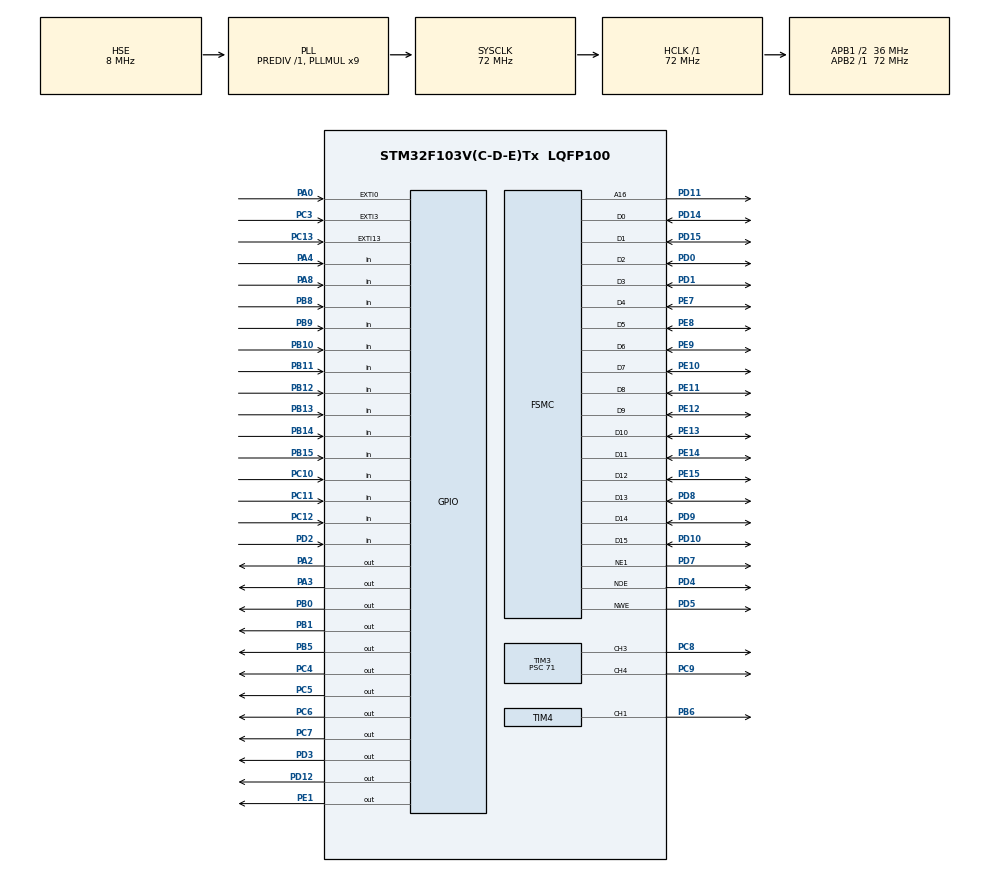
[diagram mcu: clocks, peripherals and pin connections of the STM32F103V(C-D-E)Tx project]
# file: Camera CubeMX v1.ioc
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Mcu.Family=STM32F1
Mcu.Name=STM32F103V(C-D-E)Tx
Mcu.Package=LQFP100
NVIC.EXTI0_IRQn=true\:0\:0\:false\:false\:true\:true\:true\:true
NVIC.EXTI15_10_IRQn=true\:0\:0\:false\:false\:true\:true\:true\:true
NVIC.EXTI3_IRQn=true\:0\:0\:false\:false\:true\:true\:true\:true
NVIC.PriorityGroup=NVIC_PRIORITYGROUP_4
OSC_IN.Mode=HSE-External-Oscillator
OSC_IN.Signal=RCC_OSC_IN
OSC_OUT.Mode=HSE-External-Oscillator
OSC_OUT.Signal=RCC_OSC_OUT
PA0-WKUP.GPIO_ModeDefaultEXTI=GPIO_MODE_IT_RISING_FALLING
PA0-WKUP.GPIO_PuPd=GPIO_PULLUP
PA0-WKUP.Signal=GPXTI0
PA13.Mode=Serial_Wire
PA13.Signal=SYS_JTMS-SWDIO
PA14.Mode=Serial_Wire
PA14.Signal=SYS_JTCK-SWCLK
PA2.GPIO_Speed=GPIO_SPEED_FREQ_HIGH
PA2.Signal=GPIO_Output
PA3.GPIO_Speed=GPIO_SPEED_FREQ_HIGH
PA3.Signal=GPIO_Output
PA4.GPIO_PuPd=GPIO_PULLUP
PA4.Signal=GPIO_Input
PA8.GPIO_PuPd=GPIO_PULLUP
PA8.Signal=GPIO_Input
PB0.GPIO_Speed=GPIO_SPEED_FREQ_HIGH
PB0.PinState=GPIO_PIN_SET
PB0.Signal=GPIO_Output
PB1.GPIO_Speed=GPIO_SPEED_FREQ_HIGH
PB1.PinState=GPIO_PIN_SET
PB1.Signal=GPIO_Output
PB10.Signal=GPIO_Input
PB11.Signal=GPIO_Input
PB12.Signal=GPIO_Input
PB13.Signal=GPIO_Input
PB14.Signal=GPIO_Input
PB15.Signal=GPIO_Input
PB5.GPIO_Speed=GPIO_SPEED_FREQ_HIGH
PB5.PinState=GPIO_PIN_SET
PB5.Signal=GPIO_Output
PB6.Signal=S_TIM4_CH1
PB8.Signal=GPIO_Input
PB9.Signal=GPIO_Input
PC10.GPIO_PuPd=GPIO_PULLUP
PC10.Signal=GPIO_Input
PC11.GPIO_PuPd=GPIO_PULLUP
PC11.Signal=GPIO_Input
PC12.GPIO_PuPd=GPIO_PULLUP
PC12.Signal=GPIO_Input
PC13-TAMPER-RTC.GPIO_ModeDefaultEXTI=GPIO_MODE_IT_RISING_FALLING
PC13-TAMPER-RTC.Signal=GPXTI13
PC14-OSC32_IN.Mode=LSE-External-Oscillator
PC14-OSC32_IN.Signal=RCC_OSC32_IN
PC15-OSC32_OUT.Mode=LSE-External-Oscillator
PC15-OSC32_OUT.Signal=RCC_OSC32_OUT
PC3.GPIO_ModeDefaultEXTI=GPIO_MODE_IT_FALLING
PC3.Signal=GPXTI3
PC4.GPIO_Speed=GPIO_SPEED_FREQ_HIGH
PC4.Signal=GPIO_Output
PC5.GPIO_Speed=GPIO_SPEED_FREQ_HIGH
PC5.Signal=GPIO_Output
PC6.Signal=GPIO_Output
PC7.GPIO_ModeDefaultOutputPP=GPIO_MODE_OUTPUT_OD
PC7.GPIO_Speed=GPIO_SPEED_FREQ_HIGH
PC7.Signal=GPIO_Output
PC8.Signal=S_TIM3_CH3
PC9.Signal=S_TIM3_CH4
PD0.Mode=16b-d1
PD0.Signal=FSMC_D2
PD1.Mode=16b-d1
PD1.Signal=FSMC_D3
PD10.Mode=16b-d1
PD10.Signal=FSMC_D15
PD11.Mode=A16_1
PD11.Signal=FSMC_A16
PD12.GPIO_Speed=GPIO_SPEED_FREQ_HIGH
PD12.PinState=GPIO_PIN_RESET
PD12.Signal=GPIO_Output
PD14.Mode=16b-d1
PD14.Signal=FSMC_D0
PD15.Mode=16b-d1
PD15.Signal=FSMC_D1
PD2.GPIO_PuPd=GPIO_PULLUP
PD2.Signal=GPIO_Input
PD3.GPIO_Speed=GPIO_SPEED_FREQ_HIGH
PD3.Signal=GPIO_Output
PD4.Mode=Lcd1
PD4.Signal=FSMC_NOE
PD5.Mode=Lcd1
PD5.Signal=FSMC_NWE
PD7.Mode=NorPsramChipSelect1_1
PD7.Signal=FSMC_NE1
PD8.Mode=16b-d1
PD8.Signal=FSMC_D13
PD9.Mode=16b-d1
PD9.Signal=FSMC_D14
PE1.GPIO_Speed=GPIO_SPEED_FREQ_HIGH
PE1.PinState=GPIO_PIN_RESET
PE1.Signal=GPIO_Output
PE10.Mode=16b-d1
PE10.Signal=FSMC_D7
PE11.Mode=16b-d1
PE11.Signal=FSMC_D8
PE12.Mode=16b-d1
PE12.Signal=FSMC_D9
PE13.Mode=16b-d1
PE13.Signal=FSMC_D10
PE14.Mode=16b-d1
PE14.Signal=FSMC_D11
PE15.Mode=16b-d1
PE15.Signal=FSMC_D12
PE7.Mode=16b-d1
PE7.Signal=FSMC_D4
PE8.Mode=16b-d1
PE8.Signal=FSMC_D5
PE9.Mode=16b-d1
PE9.Signal=FSMC_D6
ProjectManager.HeapSize=0x200
ProjectManager.StackSize=0x400
ProjectManager.TargetToolchain=STM32CubeIDE
RCC.AHBFreq_Value=72000000
RCC.APB1CLKDivider=RCC_HCLK_DIV2
RCC.APB1Freq_Value=36000000
RCC.APB1TimFreq_Value=72000000
RCC.APB2Freq_Value=72000000
RCC.APB2TimFreq_Value=72000000
RCC.HCLKFreq_Value=72000000
RCC.PLLMUL=RCC_PLL_MUL9
RCC.PLLSourceVirtual=RCC_PLLSOURCE_HSE
RCC.SYSCLKFreq_VALUE=72000000
RCC.SYSCLKSource=RCC_SYSCLKSOURCE_PLLCLK
RCC.USBFreq_Value=72000000
SH.S_TIM3_CH3.0=TIM3_CH3,PWM Generation3 CH3
SH.S_TIM3_CH4.0=TIM3_CH4,PWM Generation4 CH4
SH.S_TIM4_CH1.0=TIM4_CH1,PWM Generation1 CH1
TIM3.Channel-PWM\ Generation3\ CH3=TIM_CHANNEL_3
TIM3.Channel-PWM\ Generation4\ CH4=TIM_CHANNEL_4
TIM3.Period=19999
TIM3.Prescaler=71
TIM3.Pulse-PWM\ Generation3\ CH3=799
TIM3.Pulse-PWM\ Generation4\ CH4=799
TIM4.Channel-PWM\ Generation1\ CH1=TIM_CHANNEL_1
TIM4.Period=19999
TIM4.Prescaler=71
TIM4.Pulse-PWM\ Generation1\ CH1=799
TIM4.TIM_MasterOutputTrigger=TIM_TRGO_RESET
TIM4.TIM_MasterSlaveMode=TIM_MASTERSLAVEMODE_DISABLE
board=custom

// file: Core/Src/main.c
	/* USER CODE BEGIN Header */
/**
  ******************************************************************************
  * @file           : main.c
  * @brief          : Main program body
  ******************************************************************************
  * @attention
  *
  * <h2><center>&copy; Copyright (c) 2019 STMicroelectronics.
  * All rights reserved.</center></h2>
  *
  * This software component is licensed by ST under BSD 3-Clause license,
  * the "License"; You may not use this file except in compliance with the
  * License. You may obtain a copy of the License at:
  *                        opensource.org/licenses/BSD-3-Clause
  *
  ******************************************************************************
  */
/* USER CODE END Header */
#include "main.h"

/* USER CODE BEGIN Includes */
#include "lcd.h"
#include "bsp_ov7725.h"
#include "bsp_sccb.h"
#include "pid.h"
#include "robot_controller.h"
#include <stdio.h>

/* USER CODE END Includes */

 TIM_HandleTypeDef htim3;
TIM_HandleTypeDef htim4;
SRAM_HandleTypeDef hsram1;

void SystemClock_Config(void);
static void MX_GPIO_Init(void);
static void MX_FSMC_Init(void);
static void MX_TIM4_Init(void);
static void MX_TIM3_Init(void);
/* USER CODE BEGIN PFP */
volatile uint8_t Ov7725_vsync ;
PIDController ball_pid;

/* === Modes === */
volatile uint8_t shape_state = 0;
volatile uint8_t square_mode = 0;
volatile uint8_t circle_mode = 0;
volatile uint8_t joystick_mode = 0;

/* === Square Mode Variables === */
uint8_t current_side = 0;                   // 0: Top, 1: Right, 2: Bottom, 3: Left
float progress = 0.0f;
uint32_t last_move_time = 0;
const float MOVE_SPEED = 0.06f;
const uint32_t CORNER_SETTLE_TIME_MS = 500;
const float square_length = 16.0f;

uint32_t corner_arrival_time = 0;
uint8_t waiting_at_corner = 0;

/* === Circle Mode Variables === */
float circle_angle = 0.0f;
uint8_t circle_phase = 0;           // 0 = moving to start position, 1 = rotating
const float CIRCLE_RADIUS = 10.0f;
const float CIRCLE_SPEED = 0.2f;          // Radians per update

uint32_t circle_start_time = 0;
uint32_t last_circle_time = 0;

/* === Common === */
const float center_x = 36.0f;
const float center_y = 32.0f;

float square_corners[4][2] = {
    {center_x - square_length, center_y - square_length},   // Top-Left
    {center_x + square_length, center_y - square_length},   // Top-Right
    {center_x + square_length, center_y + square_length},   // Bottom-Right
    {center_x - square_length, center_y + square_length}    // Bottom-Left
};

float target_x = center_x;
float target_y = center_y;

#define BALL_SETTLE_THRESHOLD  11.0f
#define BALL_SETTLE_TIME_MS    350

uint32_t stable_start_time = 0;
uint8_t ball_is_stable = 0;
volatile uint8_t circle_mode_request = 0;
volatile uint8_t square_mode_request = 0;

/* === Offset Calibration Mode === */
volatile uint8_t offset_mode = 0;           // 0 = normal, 1 = offset calibration mode

float base_offset = 1000.0f;  // Default center offset
/* === Offset Adjustment Mode === */

float offset_x = 0.0f;      // Virtual offset in X direction
float offset_y = 0.0f;      // Virtual offset in Y direction

float offset_magnitude = 0.0f;
float offset_angle_deg = 0.0f;

// ==========joystick control==========
#define BTN_UP_PRESSED      (HAL_GPIO_ReadPin(GPIOC, GPIO_PIN_10) == GPIO_PIN_RESET)
#define BTN_DOWN_PRESSED    (HAL_GPIO_ReadPin(GPIOC, GPIO_PIN_11) == GPIO_PIN_RESET)
#define BTN_LEFT_PRESSED    (HAL_GPIO_ReadPin(GPIOC, GPIO_PIN_12) == GPIO_PIN_RESET)
#define BTN_RIGHT_PRESSED   (HAL_GPIO_ReadPin(GPIOD, GPIO_PIN_2)  == GPIO_PIN_RESET)
#define BTN_SET_PRESSED     (HAL_GPIO_ReadPin(GPIOA, GPIO_PIN_8)  == GPIO_PIN_RESET)
#define BTN_RST_PRESSED     (HAL_GPIO_ReadPin(GPIOA, GPIO_PIN_4) == GPIO_PIN_RESET)

/* USER CODE END PFP */

/* USER CODE BEGIN 0 */

/* USER CODE BEGIN 4 */

/* USER CODE END 0 */

int main(void)
{

  /* MCU Configuration--------------------------------------------------------*/

  /* Reset of all peripherals, Initializes the Flash interface and the Systick. */
  HAL_Init();

  /* Configure the system clock */
  SystemClock_Config();

  /* Initialize all configured peripherals */
  MX_GPIO_Init();
  MX_FSMC_Init();
  MX_TIM4_Init();
  MX_TIM3_Init();
  /* USER CODE BEGIN 2 */
// ============PID VALUES============
  	PID_Init(&ball_pid,
  		   0.05f,      // kp
  		   0.000f,     // ki
  		   0.07f,    // kd
  		   0.95f,        // alpha (filter)
  		   0.01f,         // beta
  		   30.0f,        // max_theta
  		   1);           // 1 = use tanh
	RCC->CFGR = (RCC->CFGR & ~RCC_CFGR_MCO) | RCC_CFGR_MCO_SYSCLK;

	LCD_INIT();

	HAL_TIM_PWM_Start(&htim3, TIM_CHANNEL_3); //PC8
	HAL_TIM_PWM_Start(&htim3, TIM_CHANNEL_4); //PC9
	HAL_TIM_PWM_Start(&htim4, TIM_CHANNEL_1); //PB6

  /* USER CODE END 2 */

  /* Infinite loop */
  /* USER CODE BEGIN WHILE */

	while(Ov7725_Init() != SUCCESS);
	Ov7725_vsync = 0;

	while (1)
	{
	    if (Ov7725_vsync == 2)
	    {
	        FIFO_PREPARE;
	        ImagDisp();
	        Ov7725_vsync = 0;
	        float theta, phi;
	        float curr_x = (float)centroid_x;
	        float curr_y = (float)centroid_y;

	        char print_target[16];
	        sprintf(print_target, "target: (%d,%d)", (int)target_x, (int)target_y);
	        LCD_DrawString(4, 60, (uint8_t *)print_target);

	        char print_centroid[16];
	        sprintf(print_centroid, "centroid: (%d,%d)", (int)centroid_x, (int)centroid_y);
	        LCD_DrawString(4, 75, (uint8_t *)print_centroid);

	        uint32_t now = HAL_GetTick();

	        /* ====================== SET BUTTON: Toggle Joystick Mode ====================== */
	                static uint32_t last_set_press = 0;
	                if (BTN_SET_PRESSED && (now - last_set_press > 250))   // 250ms debounce
	                {
	                    last_set_press = now;
	                    joystick_mode = !joystick_mode;     // Toggle between 0 and 1

	                    // Visual feedback
	                    LCD_Clear(80, 0, 80, 60, WHITE);
	                    if (joystick_mode)
	                    {
	                         target_x = center_x;
	                         target_y = center_y;
	             			HAL_GPIO_WritePin(GPIOB, GPIO_PIN_5, GPIO_PIN_RESET);
	             			HAL_GPIO_WritePin(GPIOB, GPIO_PIN_1, GPIO_PIN_SET);
	             			HAL_GPIO_WritePin(GPIOB, GPIO_PIN_0, GPIO_PIN_SET);
	             			HAL_Delay(100);
	                    }
						else
						{
	                         target_x = center_x;
	                         target_y = center_y;
		             			HAL_GPIO_WritePin(GPIOB, GPIO_PIN_5, GPIO_PIN_SET);
		             			HAL_GPIO_WritePin(GPIOB, GPIO_PIN_1, GPIO_PIN_SET);
		             			HAL_GPIO_WritePin(GPIOB, GPIO_PIN_0, GPIO_PIN_SET);
		             			HAL_Delay(100);
						}
	                }

	                /* ====================== JOYSTICK + RST BUTTON HANDLING ====================== */
	                static uint32_t last_joy_update = 0;
	                static uint32_t last_rst_press = 0;

	                /* ====================== RST BUTTON: Toggle Offset Mode ====================== */
	                if (BTN_RST_PRESSED && (now - last_rst_press > 250))
	                {
	                    last_rst_press = now;
	                    offset_mode = !offset_mode;
	                    joystick_mode = 0;                    // Disable normal joystick mode when offset mode is active

	                    if (offset_mode)
	                    {
	                         target_x = center_x;
	                         target_y = center_y;
	             			HAL_GPIO_WritePin(GPIOB, GPIO_PIN_5, GPIO_PIN_SET);
	             			HAL_GPIO_WritePin(GPIOB, GPIO_PIN_1, GPIO_PIN_RESET);
	             			HAL_GPIO_WritePin(GPIOB, GPIO_PIN_0, GPIO_PIN_SET);
	             			HAL_Delay(100);
	                    }
						else
						{
	                         target_x = center_x;
	                         target_y = center_y;
		             			HAL_GPIO_WritePin(GPIOB, GPIO_PIN_5, GPIO_PIN_SET);
		             			HAL_GPIO_WritePin(GPIOB, GPIO_PIN_1, GPIO_PIN_SET);
		             			HAL_GPIO_WritePin(GPIOB, GPIO_PIN_0, GPIO_PIN_SET);
		             			HAL_Delay(100);
						}

	                    LCD_Clear(80, 0, 80, 60, WHITE);
	                    if (offset_mode)
	                    {
	                        LCD_DrawString(4, 120, (uint8_t*)"OFFSET MODE");
	                    }
	                    else
	                    {
	                        LCD_Clear(4, 120, 200, 150, WHITE);
	                    }
	                }

	                /* ====================== JOYSTICK CONTROL ====================== */
	                if (now - last_joy_update >= 50)        // 50ms update rate
	                {
	                    last_joy_update = now;
	                    float step = 0.8f;                  // How fast offset changes

	                    if (offset_mode)
	                    {
	                        /* ==================== OFFSET ADJUSTMENT MODE ==================== */
	                        if (BTN_UP_PRESSED)    offset_y -= step;
	                        if (BTN_DOWN_PRESSED)  offset_y += step;
	                        if (BTN_LEFT_PRESSED)  offset_x -= step;
	                        if (BTN_RIGHT_PRESSED) offset_x += step;

	                        //Soft limits
	                        if (offset_x < -15.0f) offset_x = -15.0f;
	                        if (offset_x >  15.0f) offset_x =  15.0f;
	                        if (offset_y < -15.0f) offset_y = -15.0f;
	                        if (offset_y >  15.0f) offset_y =  15.0f;

	                        // Convert to polar for nice display
	                        offset_magnitude = sqrtf(offset_x*offset_x + offset_y*offset_y);
	                        if (offset_magnitude > 0.01f)
	                            offset_angle_deg = atan2f(offset_y, offset_x) * 180.0f / M_PI;
	                    }
	                    else if (joystick_mode)
	                    {
	                        /* ==================== NORMAL TARGET MOVING MODE ==================== */
	                        float pos_step = 1.5f;
	                        if (BTN_UP_PRESSED)    target_y -= pos_step;
	                        if (BTN_DOWN_PRESSED)  target_y += pos_step;
	                        if (BTN_LEFT_PRESSED)  target_x -= pos_step;
	                        if (BTN_RIGHT_PRESSED) target_x += pos_step;

	                        if (target_x < 15.0f) target_x = 15.0f;
	                        if (target_x > 65.0f) target_x = 65.0f;
	                        if (target_y < 10.0f) target_y = 10.0f;
	                        if (target_y > 45.0f) target_y = 45.0f;
	                    }
	                }

			if (offset_mode)
			{
				char offset_coordinate[32];
				sprintf(offset_coordinate, "Offset: %d, %d      ", (int)offset_x, (int)offset_y);
				LCD_DrawString(4, 135, (uint8_t*)offset_coordinate);
			}

	        // key button press
	  	  if (HAL_GPIO_ReadPin(GPIOA, GPIO_PIN_0) == GPIO_PIN_SET && HAL_GPIO_ReadPin(GPIOC, GPIO_PIN_13) == GPIO_PIN_SET) {//k1 and k2
		        PID_Compute(&ball_pid, target_x, target_y, curr_x, curr_y, &theta, &phi, 1);
		        Robot_Goto_Spherical(theta, phi, 1400);
		        HAL_Delay(50);
		        Robot_Goto_Spherical(theta, phi, 700);

				continue;
	  	      HAL_Delay(50);
	  	    }
	  	/* ====================== BUTTON HANDLING (Edge Triggered) ====================== */
	  	static uint32_t last_k1_time = 0;
	  	static uint32_t last_k2_time = 0;
	  	static uint8_t  prev_k1_state = GPIO_PIN_RESET;
	  	static uint8_t  prev_k2_state = GPIO_PIN_RESET;

	  	// K1 (PA0) and K2 (PC13) handling - detect rising edge only
	  	if (now - last_k1_time > 200)   // 200ms debounce
	  	{
	  	    uint8_t current_k1 = HAL_GPIO_ReadPin(GPIOA, GPIO_PIN_0);

	  	    if (current_k1 == GPIO_PIN_SET && prev_k1_state == GPIO_PIN_RESET)
	  	    {
	  	        // Rising edge detected on K1
	  	        last_k1_time = now;

	  	        if (HAL_GPIO_ReadPin(GPIOC, GPIO_PIN_13) == GPIO_PIN_SET)
	  	        {
	  	            // Both K1 + K2 pressed → Special function
	  	            PID_Compute(&ball_pid, target_x, target_y, curr_x, curr_y, &theta, &phi, 1);
	  	            Robot_Goto_Spherical(theta, phi, 1400);
	  	            HAL_Delay(50);
	  	            Robot_Goto_Spherical(theta, phi, 700);
	  	        }
	  	        else
	  	        {
	  	            // Only K1 pressed
	  	            square_mode_request = 0;
	  	            square_mode = !square_mode;
	  	            LCD_Clear(80, 0, 80, 60, WHITE);
	  	            corner_arrival_time = HAL_GetTick();

	  	            if (square_mode)
	  	            {
	  	                target_x = square_corners[0][0];
	  	                target_y = square_corners[0][1];
	  	                current_side = 3;
	  	                progress = 0.0f;
	  	                waiting_at_corner = 1;
	  	                ball_is_stable = 0;
	  	                stable_start_time = now;
	  	                last_move_time = now;
	  	            }
	  	            else
	  	            {
	  	                target_x = center_x;
	  	                target_y = center_y;
	  	                waiting_at_corner = 0;
	  	                ball_is_stable = 0;
	  	            }
	  	        }
	  	    }
	  	    prev_k1_state = current_k1;
	  	}

	  	if (now - last_k2_time > 200)   // 200ms debounce
	  	{
	  	    uint8_t current_k2 = HAL_GPIO_ReadPin(GPIOC, GPIO_PIN_13);

	  	    if (current_k2 == GPIO_PIN_SET && prev_k2_state == GPIO_PIN_RESET)
	  	    {
	  	        // Rising edge detected on K2
	  	        last_k2_time = now;

	  	        // Only trigger K2 if K1 is NOT pressed (to avoid conflict with both-pressed case)
	  	        if (HAL_GPIO_ReadPin(GPIOA, GPIO_PIN_0) != GPIO_PIN_SET)
	  	        {
	  	            circle_mode_request = 0;
	  	            circle_mode = !circle_mode;
	  	            LCD_Clear(80, 0, 80, 60, WHITE);

	  	            if (circle_mode)
	  	            {
	  	                square_mode = 0;
	  	                circle_phase = 0;
	  	                circle_angle = 0.0f;
	  	                last_circle_time = now;
	  	                ball_is_stable = 0;
	  	                target_x = center_x + CIRCLE_RADIUS;
	  	                target_y = center_y;
	  	            }
	  	            else
	  	            {
	  	                circle_phase = 0;
	  	                target_x = center_x;
	  	                target_y = center_y;
	  	            }
	  	        }
	  	    }
	  	    prev_k2_state = current_k2;
	  	}

	        PID_Compute(&ball_pid, target_x, target_y, curr_x, curr_y, &theta, &phi, 0);
	        Robot_Goto_Spherical(theta, phi, base_offset);

	        if (square_mode)
	        {
	            float dx = curr_x - target_x;
	            float dy = curr_y - target_y;
	            float dist = sqrtf(dx * dx + dy * dy);

	            uint32_t now = HAL_GetTick();

	            if (waiting_at_corner)
	            {
	                // === WAIT AT CORNER FOR STABILIZATION (2 seconds) ===
	                if (!ball_is_stable)
	                {
	                    if (dist <= BALL_SETTLE_THRESHOLD)
	                    {
	                        ball_is_stable = 1;
	                        stable_start_time = now;
	                    }
	                }
	                else
	                {
	                    // Ball is considered stable, check if 2 seconds have passed
	                    if (now - stable_start_time >= CORNER_SETTLE_TIME_MS)   // 2 seconds
	                    {
	                        // Time to move to next corner
	                        current_side = (current_side + 1) % 4;
	                        progress = 0.0f;
	                        waiting_at_corner = 0;
	                        ball_is_stable = 0;
	                        last_move_time = now;

	                        // Set target to start of next side
	                        switch (current_side)
	                        {
	                            case 0: target_x = square_corners[0][0]; target_y = square_corners[0][1]; break;
	                            case 1: target_x = square_corners[1][0]; target_y = square_corners[1][1]; break;
	                            case 2: target_x = square_corners[2][0]; target_y = square_corners[2][1]; break;
	                            case 3: target_x = square_corners[3][0]; target_y = square_corners[3][1]; break;
	                        }
	                    }
	                }
	            }
	            else
	            {
	                // === MOVING ALONG THE SIDE WITH DECELERATION ===
	                if (now - last_move_time >= 20)
	                {
	                    last_move_time = now;

	                    // Deceleration near the corner
	                    float speed_factor = 1.0f;
	                    if (progress > 0.9f)	// deccel for how long
	                    {
	                        speed_factor = 1.0f - (progress - 0.7f) * 3.0f;   // linear slow down
	                        if (speed_factor < 0.01f) speed_factor = 0.01f;   // minimum speed
	                    }

	                    progress += MOVE_SPEED * speed_factor;

	                    if (progress >= 1.0f)
	                    {
	                        progress = 1.0f;
	                        waiting_at_corner = 1;
	                        ball_is_stable = 0;
	                        stable_start_time = now;
	                    }

	                    // Update target position along the current side
	                    float pos = progress * square_length * 2.0f;

	                    switch (current_side)
	                    {
	                        case 0: // Top: left to right
	                            target_x = square_corners[0][0] + pos;
	                            target_y = square_corners[0][1];
	                            break;
	                        case 1: // Right: top to bottom
	                            target_x = square_corners[1][0];
	                            target_y = square_corners[1][1] + pos;
	                            break;
	                        case 2: // Bottom: right to left
	                            target_x = square_corners[2][0] - pos;
	                            target_y = square_corners[2][1];
	                            break;
	                        case 3: // Left: bottom to top
	                            target_x = square_corners[3][0];
	                            target_y = square_corners[3][1] - pos;
	                            break;
	                    }
	                }
	            }

	            if (progress > 0.85f && !waiting_at_corner)
	            {
	                if (dist <= BALL_SETTLE_THRESHOLD)
	                {
	                    if (!ball_is_stable)
	                    {
	                        ball_is_stable = 1;
	                        stable_start_time = now;
	                    }
	                }
	                else
	                {
	                    ball_is_stable = 0;
	                }
	            }
	        }
	        else if (circle_mode)
	        {
	            float dx = curr_x - target_x;
	            float dy = curr_y - target_y;
	            float dist = sqrtf(dx * dx + dy * dy);

	            if (circle_phase == 0)
	            {
	                if (now - last_circle_time >= 2000)
	                {
	                    last_circle_time = now;
	                    float target_start_x = center_x + CIRCLE_RADIUS;
	                    float target_start_y = center_y - 10;
	                    target_x = target_x * 0.92f + target_start_x * 0.08f;
	                    target_y = target_y * 0.92f + target_start_y * 0.08f;

	                    if (dist <= BALL_SETTLE_THRESHOLD)
	                    {
	                        if (!ball_is_stable)
	                        {
	                            ball_is_stable = 1;
	                            circle_start_time = now;
	                        }
	                        else if (now - circle_start_time > BALL_SETTLE_TIME_MS)
	                        {
	                            circle_phase = 1;
	                            circle_angle = 0.0f;
	                            ball_is_stable = 0;
	                            last_circle_time = now;
	                        }
	                    }
	                    else
	                    {
	                        ball_is_stable = 0;
	                    }
	                }
	            }
	            else  // circle_phase == 1
	            {
	                if (now - last_circle_time >= 20)
	                {
	                    last_circle_time = now;
	                    circle_angle += CIRCLE_SPEED;
	                    if (circle_angle >= 6.283185f)  // 2 * PI
	                        circle_angle -= 6.283185f;

	                    target_x = center_x + CIRCLE_RADIUS * cosf(circle_angle);
	                    target_y = center_y + CIRCLE_RADIUS * sinf(circle_angle);
	                }
	            }
	        }

	        if (square_mode)
	        {
	            LCD_DrawLine(square_corners[0][0], square_corners[0][1], square_corners[1][0], square_corners[1][1], RED);
	            LCD_DrawLine(square_corners[1][0], square_corners[1][1], square_corners[2][0], square_corners[2][1], RED);
	            LCD_DrawLine(square_corners[2][0], square_corners[2][1], square_corners[3][0], square_corners[3][1], RED);
	            LCD_DrawLine(square_corners[3][0], square_corners[3][1], square_corners[0][0], square_corners[0][1], RED);

	            LCD_Clear((uint16_t)target_x - 4, (uint16_t)target_y - 4, 8, 8, YELLOW);
	        }
	        else
	        {
	            LCD_Clear((uint16_t)target_x - 8, (uint16_t)target_y - 1, 16, 2, YELLOW);
	            LCD_Clear((uint16_t)target_x - 1, (uint16_t)target_y - 8, 2, 16, YELLOW);
	        }
	    }

    /* USER CODE END WHILE */

  }
}

void SystemClock_Config(void)
{
  RCC_OscInitTypeDef RCC_OscInitStruct = {0};
  RCC_ClkInitTypeDef RCC_ClkInitStruct = {0};

  /** Initializes the RCC Oscillators according to the specified parameters
  * in the RCC_OscInitTypeDef structure.
  */
  RCC_OscInitStruct.OscillatorType = RCC_OSCILLATORTYPE_HSE;
  RCC_OscInitStruct.HSEState = RCC_HSE_ON;
  RCC_OscInitStruct.HSEPredivValue = RCC_HSE_PREDIV_DIV1;
  RCC_OscInitStruct.HSIState = RCC_HSI_ON;
  RCC_OscInitStruct.PLL.PLLState = RCC_PLL_ON;
  RCC_OscInitStruct.PLL.PLLSource = RCC_PLLSOURCE_HSE;
  RCC_OscInitStruct.PLL.PLLMUL = RCC_PLL_MUL9;
  if (HAL_RCC_OscConfig(&RCC_OscInitStruct) != HAL_OK)
  {
    Error_Handler();
  }

  /** Initializes the CPU, AHB and APB buses clocks
  */
  RCC_ClkInitStruct.ClockType = RCC_CLOCKTYPE_HCLK|RCC_CLOCKTYPE_SYSCLK
                              |RCC_CLOCKTYPE_PCLK1|RCC_CLOCKTYPE_PCLK2;
  RCC_ClkInitStruct.SYSCLKSource = RCC_SYSCLKSOURCE_PLLCLK;
  RCC_ClkInitStruct.AHBCLKDivider = RCC_SYSCLK_DIV1;
  RCC_ClkInitStruct.APB1CLKDivider = RCC_HCLK_DIV2;
  RCC_ClkInitStruct.APB2CLKDivider = RCC_HCLK_DIV1;

  if (HAL_RCC_ClockConfig(&RCC_ClkInitStruct, FLASH_LATENCY_2) != HAL_OK)
  {
    Error_Handler();
  }
}

static void MX_TIM3_Init(void)
{

  TIM_MasterConfigTypeDef sMasterConfig = {0};
  TIM_OC_InitTypeDef sConfigOC = {0};

  htim3.Instance = TIM3;
  htim3.Init.Prescaler = 71;
  htim3.Init.CounterMode = TIM_COUNTERMODE_UP;
  htim3.Init.Period = 19999;
  htim3.Init.ClockDivision = TIM_CLOCKDIVISION_DIV1;
  htim3.Init.AutoReloadPreload = TIM_AUTORELOAD_PRELOAD_DISABLE;
  if (HAL_TIM_PWM_Init(&htim3) != HAL_OK)
  {
    Error_Handler();
  }
  sMasterConfig.MasterOutputTrigger = TIM_TRGO_RESET;
  sMasterConfig.MasterSlaveMode = TIM_MASTERSLAVEMODE_DISABLE;
  if (HAL_TIMEx_MasterConfigSynchronization(&htim3, &sMasterConfig) != HAL_OK)
  {
    Error_Handler();
  }
  sConfigOC.OCMode = TIM_OCMODE_PWM1;
  sConfigOC.Pulse = 799;
  sConfigOC.OCPolarity = TIM_OCPOLARITY_HIGH;
  sConfigOC.OCFastMode = TIM_OCFAST_DISABLE;
  if (HAL_TIM_PWM_ConfigChannel(&htim3, &sConfigOC, TIM_CHANNEL_3) != HAL_OK)
  {
    Error_Handler();
  }
  if (HAL_TIM_PWM_ConfigChannel(&htim3, &sConfigOC, TIM_CHANNEL_4) != HAL_OK)
  {
    Error_Handler();
  }
  HAL_TIM_MspPostInit(&htim3);

}

static void MX_TIM4_Init(void)
{

  TIM_MasterConfigTypeDef sMasterConfig = {0};
  TIM_OC_InitTypeDef sConfigOC = {0};

  htim4.Instance = TIM4;
  htim4.Init.Prescaler = 71;
  htim4.Init.CounterMode = TIM_COUNTERMODE_UP;
  htim4.Init.Period = 19999;
  htim4.Init.ClockDivision = TIM_CLOCKDIVISION_DIV1;
  htim4.Init.AutoReloadPreload = TIM_AUTORELOAD_PRELOAD_DISABLE;
  if (HAL_TIM_PWM_Init(&htim4) != HAL_OK)
  {
    Error_Handler();
  }
  sMasterConfig.MasterOutputTrigger = TIM_TRGO_RESET;
  sMasterConfig.MasterSlaveMode = TIM_MASTERSLAVEMODE_DISABLE;
  if (HAL_TIMEx_MasterConfigSynchronization(&htim4, &sMasterConfig) != HAL_OK)
  {
    Error_Handler();
  }
  sConfigOC.OCMode = TIM_OCMODE_PWM1;
  sConfigOC.Pulse = 799;
  sConfigOC.OCPolarity = TIM_OCPOLARITY_HIGH;
  sConfigOC.OCFastMode = TIM_OCFAST_DISABLE;
  if (HAL_TIM_PWM_ConfigChannel(&htim4, &sConfigOC, TIM_CHANNEL_1) != HAL_OK)
  {
    Error_Handler();
  }
  HAL_TIM_MspPostInit(&htim4);

}

static void MX_GPIO_Init(void)
{
  GPIO_InitTypeDef GPIO_InitStruct = {0};

  /* GPIO Ports Clock Enable */
  __HAL_RCC_GPIOC_CLK_ENABLE();
  __HAL_RCC_GPIOA_CLK_ENABLE();
  __HAL_RCC_GPIOB_CLK_ENABLE();
  __HAL_RCC_GPIOE_CLK_ENABLE();
  __HAL_RCC_GPIOD_CLK_ENABLE();

  /*Configure GPIO pin Output Level */
  HAL_GPIO_WritePin(GPIOA, GPIO_PIN_2|GPIO_PIN_3, GPIO_PIN_RESET);

  /*Configure GPIO pin Output Level */
  HAL_GPIO_WritePin(GPIOC, GPIO_PIN_4|GPIO_PIN_5|GPIO_PIN_6|GPIO_PIN_7, GPIO_PIN_RESET);

  /*Configure GPIO pin Output Level */
  HAL_GPIO_WritePin(GPIOB, GPIO_PIN_0|GPIO_PIN_1|GPIO_PIN_5, GPIO_PIN_SET);

  /*Configure GPIO pin Output Level */
  HAL_GPIO_WritePin(GPIOD, GPIO_PIN_12|GPIO_PIN_3, GPIO_PIN_RESET);

  /*Configure GPIO pin Output Level */
  HAL_GPIO_WritePin(GPIOE, GPIO_PIN_1, GPIO_PIN_RESET);

  /*Configure GPIO pin : PC13 */
  GPIO_InitStruct.Pin = GPIO_PIN_13;
  GPIO_InitStruct.Mode = GPIO_MODE_IT_RISING_FALLING;
  GPIO_InitStruct.Pull = GPIO_NOPULL;
  HAL_GPIO_Init(GPIOC, &GPIO_InitStruct);

  /*Configure GPIO pin : PC3 */
  GPIO_InitStruct.Pin = GPIO_PIN_3;
  GPIO_InitStruct.Mode = GPIO_MODE_IT_FALLING;
  GPIO_InitStruct.Pull = GPIO_NOPULL;
  HAL_GPIO_Init(GPIOC, &GPIO_InitStruct);

  /*Configure GPIO pin : PA0 */
  GPIO_InitStruct.Pin = GPIO_PIN_0;
  GPIO_InitStruct.Mode = GPIO_MODE_IT_RISING_FALLING;
  GPIO_InitStruct.Pull = GPIO_PULLUP;
  HAL_GPIO_Init(GPIOA, &GPIO_InitStruct);

  /*Configure GPIO pins : PA2 PA3 */
  GPIO_InitStruct.Pin = GPIO_PIN_2|GPIO_PIN_3;
  GPIO_InitStruct.Mode = GPIO_MODE_OUTPUT_PP;
  GPIO_InitStruct.Pull = GPIO_NOPULL;
  GPIO_InitStruct.Speed = GPIO_SPEED_FREQ_HIGH;
  HAL_GPIO_Init(GPIOA, &GPIO_InitStruct);

  /*Configure GPIO pins : PA4 PA8 */
  GPIO_InitStruct.Pin = GPIO_PIN_4|GPIO_PIN_8;
  GPIO_InitStruct.Mode = GPIO_MODE_INPUT;
  GPIO_InitStruct.Pull = GPIO_PULLUP;
  HAL_GPIO_Init(GPIOA, &GPIO_InitStruct);

  /*Configure GPIO pins : PC4 PC5 */
  GPIO_InitStruct.Pin = GPIO_PIN_4|GPIO_PIN_5;
  GPIO_InitStruct.Mode = GPIO_MODE_OUTPUT_PP;
  GPIO_InitStruct.Pull = GPIO_NOPULL;
  GPIO_InitStruct.Speed = GPIO_SPEED_FREQ_HIGH;
  HAL_GPIO_Init(GPIOC, &GPIO_InitStruct);

  /*Configure GPIO pins : PB0 PB1 PB5 */
  GPIO_InitStruct.Pin = GPIO_PIN_0|GPIO_PIN_1|GPIO_PIN_5;
  GPIO_InitStruct.Mode = GPIO_MODE_OUTPUT_PP;
  GPIO_InitStruct.Pull = GPIO_NOPULL;
  GPIO_InitStruct.Speed = GPIO_SPEED_FREQ_HIGH;
  HAL_GPIO_Init(GPIOB, &GPIO_InitStruct);

  /*Configure GPIO pins : PB10 PB11 PB12 PB13
                           PB14 PB15 PB8 PB9 */
  GPIO_InitStruct.Pin = GPIO_PIN_10|GPIO_PIN_11|GPIO_PIN_12|GPIO_PIN_13
                          |GPIO_PIN_14|GPIO_PIN_15|GPIO_PIN_8|GPIO_PIN_9;
  GPIO_InitStruct.Mode = GPIO_MODE_INPUT;
  GPIO_InitStruct.Pull = GPIO_NOPULL;
  HAL_GPIO_Init(GPIOB, &GPIO_InitStruct);

  /*Configure GPIO pins : PD12 PD3 */
  GPIO_InitStruct.Pin = GPIO_PIN_12|GPIO_PIN_3;
  GPIO_InitStruct.Mode = GPIO_MODE_OUTPUT_PP;
  GPIO_InitStruct.Pull = GPIO_NOPULL;
  GPIO_InitStruct.Speed = GPIO_SPEED_FREQ_HIGH;
  HAL_GPIO_Init(GPIOD, &GPIO_InitStruct);

  /*Configure GPIO pin : PC6 */
  GPIO_InitStruct.Pin = GPIO_PIN_6;
  GPIO_InitStruct.Mode = GPIO_MODE_OUTPUT_PP;
  GPIO_InitStruct.Pull = GPIO_NOPULL;
  GPIO_InitStruct.Speed = GPIO_SPEED_FREQ_LOW;
  HAL_GPIO_Init(GPIOC, &GPIO_InitStruct);

  /*Configure GPIO pin : PC7 */
  GPIO_InitStruct.Pin = GPIO_PIN_7;
  GPIO_InitStruct.Mode = GPIO_MODE_OUTPUT_OD;
  GPIO_InitStruct.Pull = GPIO_NOPULL;
  GPIO_InitStruct.Speed = GPIO_SPEED_FREQ_HIGH;
  HAL_GPIO_Init(GPIOC, &GPIO_InitStruct);

  /*Configure GPIO pins : PC10 PC11 PC12 */
  GPIO_InitStruct.Pin = GPIO_PIN_10|GPIO_PIN_11|GPIO_PIN_12;
  GPIO_InitStruct.Mode = GPIO_MODE_INPUT;
  GPIO_InitStruct.Pull = GPIO_PULLUP;
  HAL_GPIO_Init(GPIOC, &GPIO_InitStruct);

  /*Configure GPIO pin : PD2 */
  GPIO_InitStruct.Pin = GPIO_PIN_2;
  GPIO_InitStruct.Mode = GPIO_MODE_INPUT;
  GPIO_InitStruct.Pull = GPIO_PULLUP;
  HAL_GPIO_Init(GPIOD, &GPIO_InitStruct);

  /*Configure GPIO pin : PE1 */
  GPIO_InitStruct.Pin = GPIO_PIN_1;
  GPIO_InitStruct.Mode = GPIO_MODE_OUTPUT_PP;
  GPIO_InitStruct.Pull = GPIO_NOPULL;
  GPIO_InitStruct.Speed = GPIO_SPEED_FREQ_HIGH;
  HAL_GPIO_Init(GPIOE, &GPIO_InitStruct);

  /* EXTI interrupt init*/
  HAL_NVIC_SetPriority(EXTI0_IRQn, 0, 0);
  HAL_NVIC_EnableIRQ(EXTI0_IRQn);

  HAL_NVIC_SetPriority(EXTI3_IRQn, 0, 0);
  HAL_NVIC_EnableIRQ(EXTI3_IRQn);

  HAL_NVIC_SetPriority(EXTI15_10_IRQn, 0, 0);
  HAL_NVIC_EnableIRQ(EXTI15_10_IRQn);

}

/* FSMC initialization function */
static void MX_FSMC_Init(void)
{

  FSMC_NORSRAM_TimingTypeDef Timing = {0};

  /** Perform the SRAM1 memory initialization sequence
  */
  hsram1.Instance = FSMC_NORSRAM_DEVICE;
  hsram1.Extended = FSMC_NORSRAM_EXTENDED_DEVICE;
  /* hsram1.Init */
  hsram1.Init.NSBank = FSMC_NORSRAM_BANK1;
  hsram1.Init.DataAddressMux = FSMC_DATA_ADDRESS_MUX_DISABLE;
  hsram1.Init.MemoryType = FSMC_MEMORY_TYPE_SRAM;
  hsram1.Init.MemoryDataWidth = FSMC_NORSRAM_MEM_BUS_WIDTH_16;
  hsram1.Init.BurstAccessMode = FSMC_BURST_ACCESS_MODE_DISABLE;
  hsram1.Init.WaitSignalPolarity = FSMC_WAIT_SIGNAL_POLARITY_LOW;
  hsram1.Init.WrapMode = FSMC_WRAP_MODE_DISABLE;
  hsram1.Init.WaitSignalActive = FSMC_WAIT_TIMING_BEFORE_WS;
  hsram1.Init.WriteOperation = FSMC_WRITE_OPERATION_ENABLE;
  hsram1.Init.WaitSignal = FSMC_WAIT_SIGNAL_DISABLE;
  hsram1.Init.ExtendedMode = FSMC_EXTENDED_MODE_DISABLE;
  hsram1.Init.AsynchronousWait = FSMC_ASYNCHRONOUS_WAIT_DISABLE;
  hsram1.Init.WriteBurst = FSMC_WRITE_BURST_DISABLE;
  /* Timing */
  Timing.AddressSetupTime = 15;
  Timing.AddressHoldTime = 15;
  Timing.DataSetupTime = 255;
  Timing.BusTurnAroundDuration = 15;
  Timing.CLKDivision = 16;
  Timing.DataLatency = 17;
  Timing.AccessMode = FSMC_ACCESS_MODE_A;
  /* ExtTiming */

  if (HAL_SRAM_Init(&hsram1, &Timing, NULL) != HAL_OK)
  {
    Error_Handler( );
  }

  /** Disconnect NADV
  */

  __HAL_AFIO_FSMCNADV_DISCONNECTED();

}

void Error_Handler(void)
{
  __disable_irq();
  while (1)
  {
  }
}
